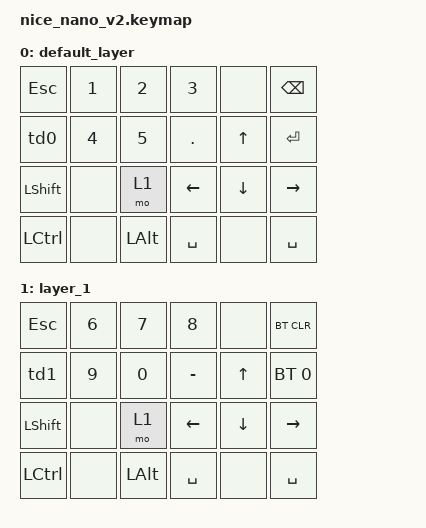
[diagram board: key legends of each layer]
#include <behaviors.dtsi>
#include <dt-bindings/zmk/keys.h>
#include <dt-bindings/zmk/bt.h>

/ {
    behaviors {
        // TD0: Ctrl+V / Ctrl+C
        td0: tap_dance_0 {
            compatible = "zmk,behavior-tap-dance";
            label = "TAP_DANCE_COPY_PASTE";
            #binding-cells = <0>;
            tapping-term-ms = <200>;
            bindings = <&kp LC(C)>, <&kp LC(V)>;
        };

        // TD1: Ctrl+Z / Ctrl+Y
        td1: tap_dance_1 {
            compatible = "zmk,behavior-tap-dance";
            label = "TD_UNDO_REDO";
            #binding-cells = <0>;
            tapping-term-ms = <200>;
            bindings = <&kp LC(Z)>, <&kp LC(Y)>;
        };
    };

    keymap {
        compatible = "zmk,keymap";

        default_layer {
            bindings = <
                &kp ESC      &kp N1    &kp N2    &kp N3    &none     &kp BSPC
                &td0         &kp N4    &kp N5    &kp DOT   &kp UP    &kp ENTER
                &kp LSHFT    &none     &mo 1     &kp LEFT  &kp DOWN  &kp RIGHT
                &kp LCTRL    &none     &kp LALT  &kp SPACE &none     &kp SPACE
            >;
        };

        layer_1 {
            bindings = <
                &kp ESC      &kp N6    &kp N7    &kp N8    &none     &bt BT_CLR
                &td1         &kp N9    &kp N0    &kp MINUS &kp UP    &bt BT_SEL 0
                &kp LSHFT    &none     &mo 1     &kp LEFT  &kp DOWN  &kp RIGHT
                &kp LCTRL    &none     &kp LALT  &kp SPACE &none     &kp SPACE
            >;
        };
    };
};
